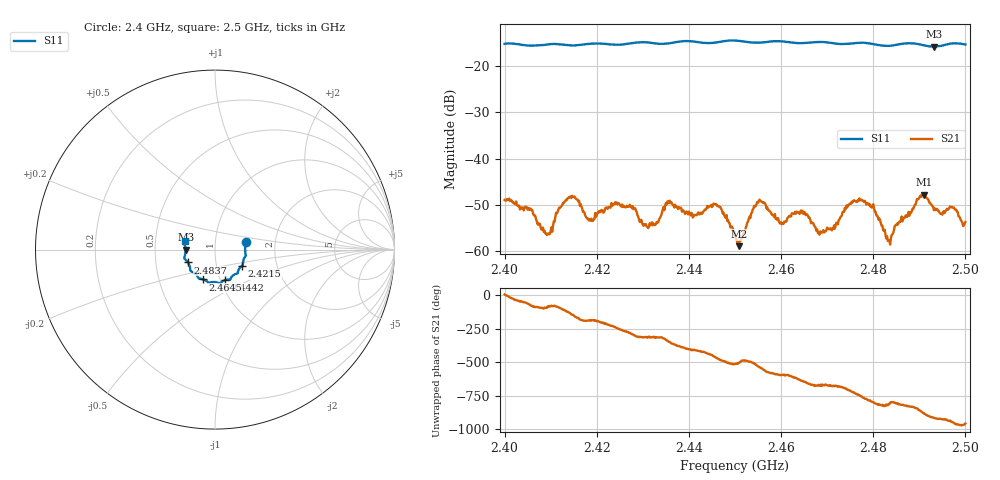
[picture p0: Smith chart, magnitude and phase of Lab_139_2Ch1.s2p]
# Hz S RI R 50
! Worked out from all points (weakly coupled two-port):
!   601 points, 2.4 GHz to 2.5 GHz, reference 50 ohm
!   highest |S21| = -47.81 dB at 2.491 GHz (marker M1); lowest = -59.0 dB at 2.4508 GHz (marker M2)
!   lowest |S11| = -15.7 dB at 2.4932 GHz (marker M3), VSWR 1.39, Z = 36 - j0.0543 ohm
!   |S11| at or under -10 dB: start of sweep to end of sweep
!   S12 and S22 are empty: the file has one direction only
!   S11 on the Smith chart (normalised r, x): 2.4 GHz: 1.41, +0.12; 2.4215 GHz: 1.33, -0.25; 2.4442 GHz: 1.05, -0.37; 2.4645 GHz: 0.83, -0.29; 2.4837 GHz: 0.73, -0.11; 2.5 GHz: 0.71, +0.07
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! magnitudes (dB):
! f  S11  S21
! 2.4 GHz  -15.1  -49.0
! 2.4093 GHz  -15.2  -56.3
! 2.4138 GHz  -15.4  -48.6
! 2.4167 GHz  -15.3  -50.4
! 2.4215 GHz  -15.1  -51.7
! 2.4333 GHz  -15.1  -53.8
! 2.4355 GHz  -15.0  -49.3
! 2.4442 GHz  -15.0  -50.6
! 2.4465 GHz  -14.7  -50.3
! 2.45 GHz  -14.4  -56.3
! 2.4508 GHz  -14.5  -59.0
! 2.4552 GHz  -14.9  -49.3
! 2.46 GHz  -14.6  -53.8
! 2.4645 GHz  -15.0  -51.7
! 2.4667 GHz  -14.8  -53.8
! 2.4712 GHz  -15.0  -55.1
! 2.4775 GHz  -14.9  -48.9
! 2.4833 GHz  -15.6  -57.8
! 2.4837 GHz  -15.5  -58.7
! 2.491 GHz  -15.4  -47.8
! 2.4932 GHz  -15.7  -51.2
! 2.5 GHz  -15.3  -53.8
